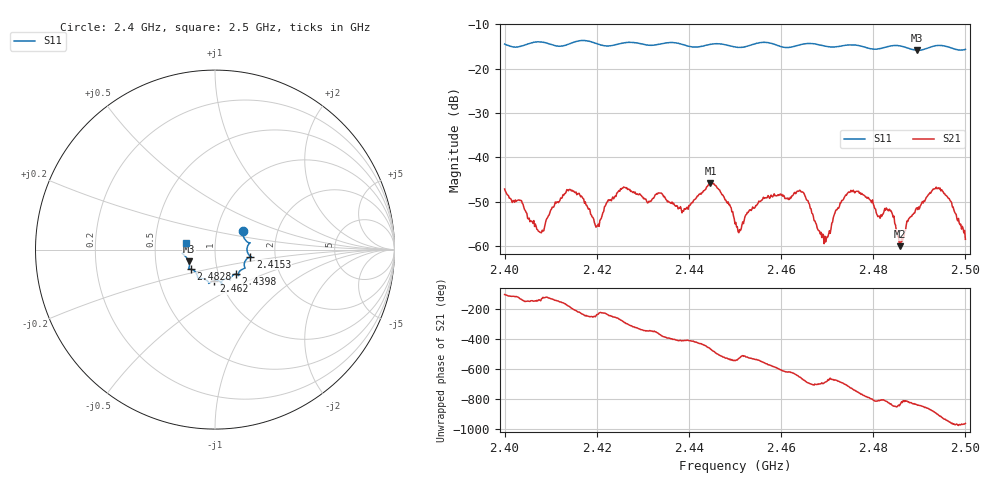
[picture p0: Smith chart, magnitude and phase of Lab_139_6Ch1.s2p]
# Hz S RI R 50
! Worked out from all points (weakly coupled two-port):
!   601 points, 2.4 GHz to 2.5 GHz, reference 50 ohm
!   highest |S21| = -45.82 dB at 2.4447 GHz (marker M1); lowest = -59.9 dB at 2.4858 GHz (marker M2)
!   lowest |S11| = -15.9 dB at 2.4895 GHz (marker M3), VSWR 1.38, Z = 37 - j5 ohm
!   |S11| at or under -10 dB: start of sweep to end of sweep
!   S12 and S22 are empty: the file has one direction only
!   S11 on the Smith chart (normalised r, x): 2.4 GHz: 1.33, +0.29; 2.4153 GHz: 1.48, -0.12; 2.4398 GHz: 1.21, -0.34; 2.462 GHz: 0.93, -0.33; 2.4828 GHz: 0.74, -0.17; 2.5 GHz: 0.72, +0.06
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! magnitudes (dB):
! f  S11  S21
! 2.4 GHz  -14.5  -47.1
! 2.4078 GHz  -14.0  -56.9
! 2.4108 GHz  -14.8  -50.7
! 2.4153 GHz  -14.0  -47.9
! 2.4167 GHz  -13.7  -48.7
! 2.42 GHz  -14.4  -55.4
! 2.4257 GHz  -14.3  -46.9
! 2.4333 GHz  -14.6  -48.0
! 2.4398 GHz  -15.0  -51.7
! 2.4447 GHz  -14.5  -45.8
! 2.45 GHz  -15.1  -54.9
! 2.462 GHz  -15.2  -49.0
! 2.4645 GHz  -14.6  -47.8
! 2.4667 GHz  -14.4  -52.5
! 2.4697 GHz  -15.0  -59.0
! 2.4752 GHz  -14.7  -47.4
! 2.4828 GHz  -15.2  -51.4
! 2.4833 GHz  -15.0  -52.0
! 2.4858 GHz  -14.9  -59.9
! 2.4895 GHz  -15.9  -51.3
! 2.4945 GHz  -14.8  -46.9
! 2.5 GHz  -15.7  -58.4
